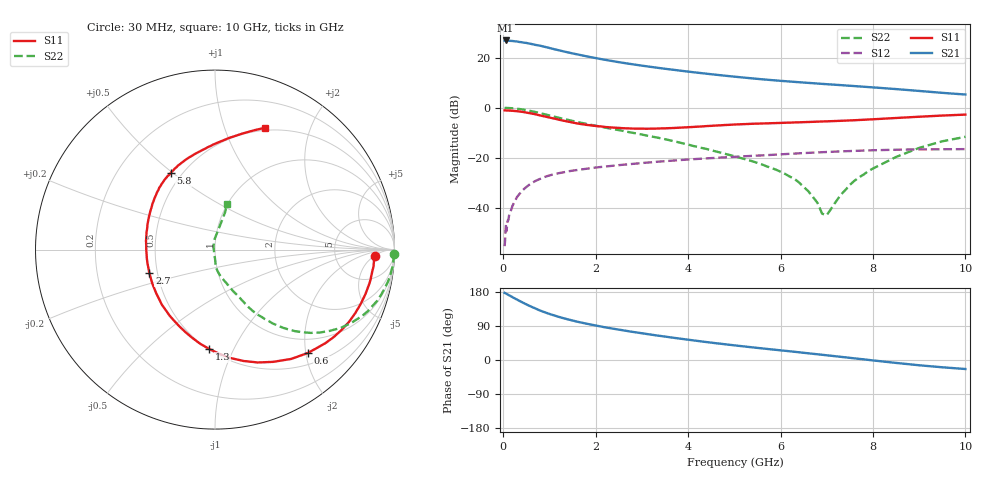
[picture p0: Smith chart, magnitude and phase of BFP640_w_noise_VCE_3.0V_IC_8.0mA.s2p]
! (c) 2013  Infineon Technologies AG, Munich
! Infineon Technologies  Discrete & RF Semiconductors
! BFP640
! VCE =  3.0 V,  IC =  8.0 mA
! Common Emitter S-Parameters:  Apr 2013
# GHz  S  MA  R  50
!  f  S11  S21  S12  S22
! GHz  MAG  ANG  MAG  ANG  MAG  ANG  MAG  ANG
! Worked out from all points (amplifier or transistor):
!   99 points, 30 MHz to 10 GHz, reference 50 ohm
!   highest |S21| = 27.0 dB at 50 MHz (marker M1)
!   |S21| within 3 dB of that: start of sweep to 997.4 MHz
!   unconditionally stable (mu >= 1): 4.143 GHz to end of sweep
!   at 350 MHz: K = 0.13, MSG = 30.4 dB, |S12| = -34.5 dB
!   at 3.5 GHz: K = 0.94, MSG = 18.5 dB, |S12| = -21.4 dB
!   at 10 GHz: K = 1.11, MAG = 8.9 dB, |S12| = -16.5 dB
!   lowest NFmin = 0.60 dB at 450 MHz
!   S11 on the Smith chart (normalised r, x): 30 MHz: 15, -5; 600 MHz: 0.71, -2.05; 1.3 GHz: 0.50, -0.81; 2.7 GHz: 0.45, -0.14; 5.8 GHz: 0.44, +0.49; 10 GHz: 0.47, +1.38
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0.03  0.8895 -2.4  22.16 177.2  0.0017 67.2  0.9962 -1.4
0.05  0.8881 -4.2  22.38 176.1  0.0035 46.6  0.9953 -2.6
0.2  0.874 -16.5  21.83 165.9  0.0109 80.1  0.9815 -10.1
0.3  0.8574 -24.6  21.28 159.3  0.0165 78.0  0.9606 -14.9
0.5  0.8058 -40.4  19.96 146.8  0.026 70.5  0.9007 -24.1
0.6  0.7749 -47.9  19.11 141.1  0.0306 66.5  0.863 -28.2
0.8  0.704 -62.7  17.55 130.4  0.0379 60.2  0.7834 -35.3
0.9  0.6723 -69.3  16.67 125.9  0.0414 57.5  0.7441 -38.4
1.1  0.6109 -81.7  14.99 117.7  0.0469 52.9  0.6686 -43.5
1.3  0.5543 -93.4  13.56 110.4  0.0511 49.1  0.6023 -47.5
1.7  0.4714 -114.9  11.28 98.5  0.0586 44.1  0.4993 -53.0
2.2  0.4148 -139.0  9.196 86.3  0.0668 39.2  0.4031 -58.3
2.7  0.3882 -160.4  7.698 76.2  0.074 35.7  0.3297 -61.4
3.4  0.3875 172.9  6.237 63.5  0.0843 30.7  0.2468 -66.9
4.3  0.4249 146.2  4.948 48.8  0.0962 24.7  0.1572 -77.0
5.1  0.4675 130.2  4.133 37.3  0.1059 19.5  0.1012 -86.2
5.8  0.4932 120.1  3.602 28.0  0.1144 15.2  0.0627 -88.8
6.7  0.5254 108.5  3.119 16.4  0.1269 8.9  0.0165 -107.7
7  0.5373 104.1  2.98 12.4  0.1307 6.4  0.0071 178.3
7.6  0.5655 95.4  2.73 4.3  0.1376 1.5  0.0347 101.9
8.5  0.6271 82.8  2.377 -7.7  0.1452 -6.4  0.104 81.5
10  0.7329 67.8  1.849 -23.8  0.1492 -16.8  0.2631 75.2
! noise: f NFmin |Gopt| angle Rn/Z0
0.45  0.6  0.33  11  0.07
0.9  0.61  0.32  18  0.07
1.5  0.64  0.29  30  0.07
1.9  0.67  0.23  49  0.08
2.4  0.72  0.21  58  0.08
3.5  0.84  0.17  76  0.09
5.5  1.07  0.23  -139  0.1
10  1.69  0.6  -62  0.41
